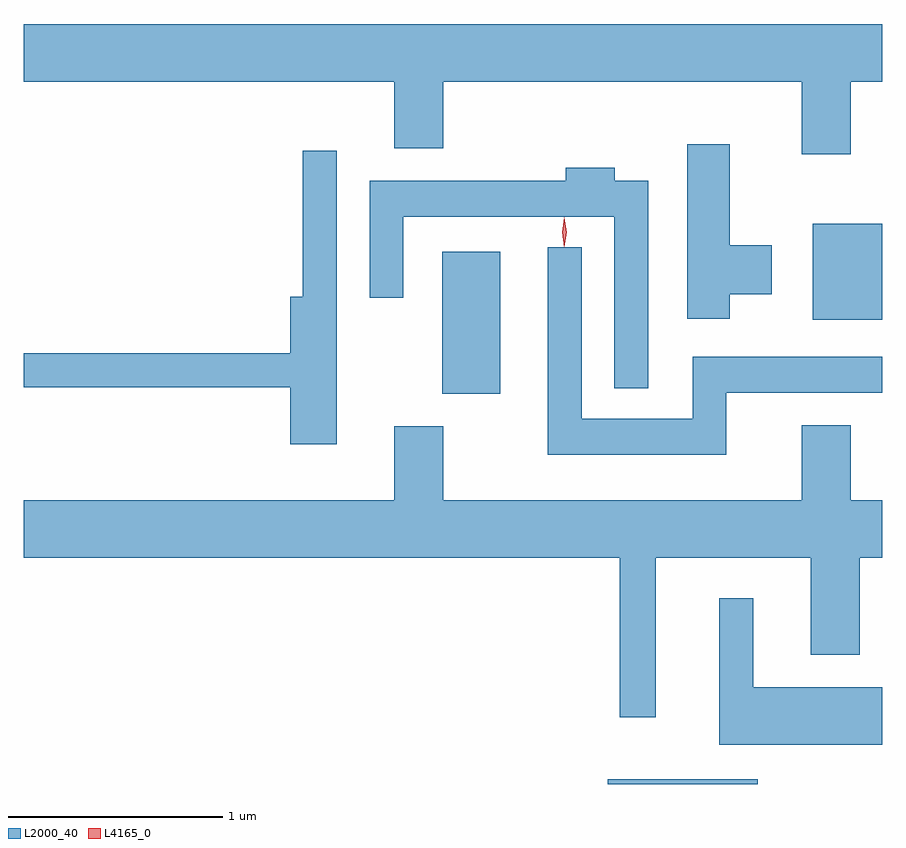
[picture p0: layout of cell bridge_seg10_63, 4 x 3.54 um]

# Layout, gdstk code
import gdstk
lib = gdstk.Library(unit=1e-6, precision=1e-09)
def R(c, l, rs):  # rectangles x0, y0, x1, y1
    for r in rs: c.add(gdstk.rectangle(r[:2], r[2:], *l))
def P(c, l, *ps):  # polygons
    for p in ps: c.add(gdstk.Polygon(p, *l))
L2000_40 = (2000, 40)
L4165_0 = (4165, 0)

bridge_seg10_63 = lib.new_cell('bridge_seg10_63')
R(bridge_seg10_63, L2000_40, [(1584.666,2210.543,1585.364,2210.564), (1583.896,2212.361,1584.164,2213.024), (1585.621,2212.706,1585.945,2213.154)])
P(bridge_seg10_63, L2000_40, [(1585.799,2213.816),(1585.945,2213.816),(1585.945,2214.084),(1581.945,2214.084),(1581.945,2213.816),(1583.671,2213.816),(1583.671,2213.506),(1583.899,2213.506),(1583.899,2213.816),(1585.571,2213.816),(1585.571,2213.476),(1585.799,2213.476)],
  [(1585.234,2212.826),(1585.429,2212.826),(1585.429,2213.054),(1585.234,2213.054),(1585.234,2213.524),(1585.036,2213.524),(1585.036,2212.711),(1585.234,2212.711)],
  [(1583.404,2213.493),(1583.246,2213.493),(1583.246,2212.814),(1583.186,2212.814),(1583.186,2212.549),(1581.945,2212.549),(1581.945,2212.391),(1583.186,2212.391),(1583.186,2212.126),(1583.404,2212.126)],
  [(1584.854,2213.354),(1584.699,2213.354),(1584.699,2213.414),(1584.471,2213.414),(1584.471,2213.354),(1583.556,2213.354),(1583.556,2212.808),(1583.714,2212.808),(1583.714,2213.186),(1584.696,2213.186),(1584.696,2212.388),(1584.854,2212.388)],
  [(1585.219,2212.366),(1585.945,2212.366),(1585.945,2212.534),(1585.061,2212.534),(1585.061,2212.244),(1584.544,2212.244),(1584.544,2213.043),(1584.386,2213.043),(1584.386,2212.076),(1585.219,2212.076)],
  [(1584.889,2211.596),(1585.611,2211.596),(1585.611,2211.146),(1585.839,2211.146),(1585.839,2211.596),(1585.945,2211.596),(1585.945,2211.864),(1585.799,2211.864),(1585.799,2212.214),(1585.571,2212.214),(1585.571,2211.864),(1583.899,2211.864),(1583.899,2212.209),(1583.671,2212.209),(1583.671,2211.864),(1581.945,2211.864),(1581.945,2211.596),(1584.721,2211.596),(1584.721,2210.853),(1584.889,2210.853)],
  [(1585.945,2210.994),(1585.344,2210.994),(1585.344,2211.408),(1585.186,2211.408),(1585.186,2210.726),(1585.945,2210.726)])
P(bridge_seg10_63, L4165_0, [(1584.463,2213.044),(1584.454,2213.113),(1584.463,2213.182),(1584.464,2213.183),(1584.464,2213.182),(1584.474,2213.113),(1584.464,2213.044),(1584.464,2213.044)])

lib.write_gds('bridge_seg10_63.gds')
